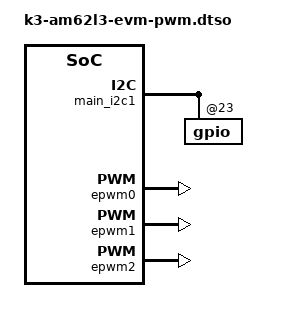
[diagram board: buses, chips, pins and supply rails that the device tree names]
// SPDX-License-Identifier: GPL-2.0-or-later OR MIT
/**
 *
 * DT Overlay for enabling PWM output on user expansion connector for AM62L3 EVM
 *
 * Copyright (C) 2024 Texas Instruments Incorporated - https://www.ti.com/
 */

/dts-v1/;
/plugin/;

#include <dt-bindings/gpio/gpio.h>
#include "k3-pinctrl.h"

&pinmux {
	main_epwm0_pins_default: main-epwm0-pins-default {
		pinctrl-single,pins = <
			AM62PX_IOPAD(0x00ac, PIN_OUTPUT, 4) /* (G22) GPMC0_AD13.EHRPWM0_A */
			AM62PX_IOPAD(0x00b0, PIN_OUTPUT, 4) /* (F22) GPMC0_AD14.EHRPWM0_B */
		>;
	};

	main_epwm1_pins_default: main-epwm1-pins-default {
		pinctrl-single,pins = <
			AM62PX_IOPAD(0x00b4, PIN_OUTPUT, 4) /* (F23) GPMC0_AD15.EHRPWM1_A */
			AM62PX_IOPAD(0x00b8, PIN_OUTPUT, 4) /* (L21) GPMC0_CLK.EHRPWM1_B */
		>;
	};

	main_epwm2_pins_default: main-epwm2-pins-default {
		pinctrl-single,pins = <
			AM62PX_IOPAD(0x00c4, PIN_OUTPUT, 4) /* (N20) GPMC0_OEn_REn.EHRPWM2_A */
			AM62PX_IOPAD(0x00c8, PIN_OUTPUT, 4) /* (M19) GPMC0_WEn.EHRPWM2_B */
		>;
	};
};

&main_i2c1 {
	gpio@23 {
		fet_sel {
			gpio-hog;
			gpios = <1 GPIO_ACTIVE_HIGH>;
			output-high;
			line-name = "VOUT0_FET_SEL0";
		};
	};
};

&dss {
	status = "disabled";
};

&epwm0 {
	pinctrl-names = "default";
	pinctrl-0 = <&main_epwm0_pins_default>;
	status = "okay";
};

&epwm1 {
	pinctrl-names = "default";
	pinctrl-0 = <&main_epwm1_pins_default>;
	status = "okay";
};

&epwm2 {
	pinctrl-names = "default";
	pinctrl-0 = <&main_epwm2_pins_default>;
	status = "okay";
};
